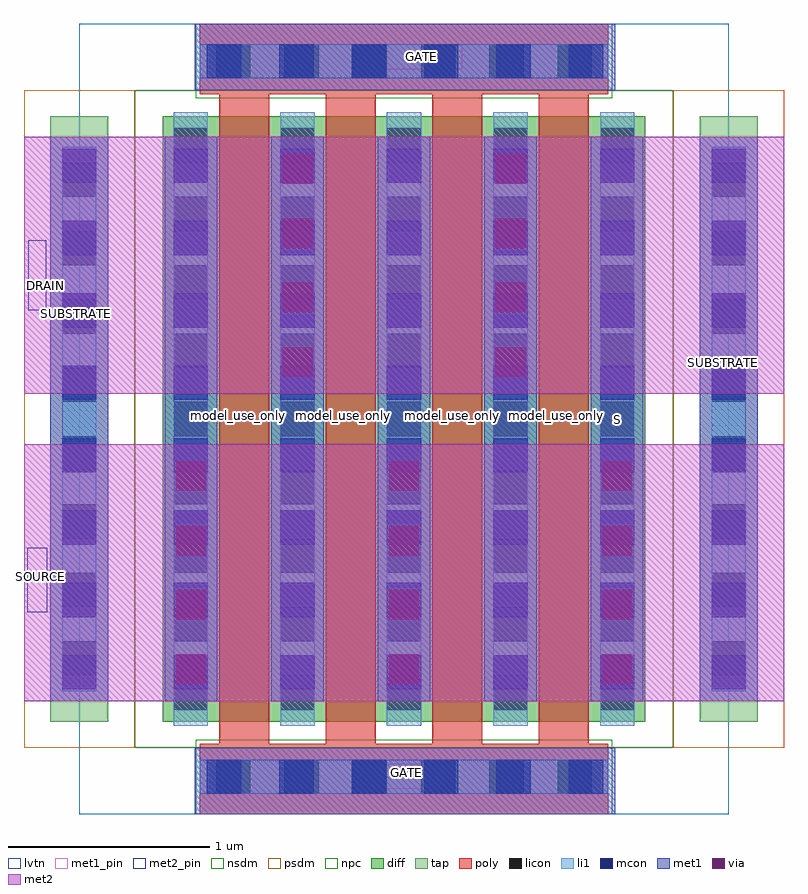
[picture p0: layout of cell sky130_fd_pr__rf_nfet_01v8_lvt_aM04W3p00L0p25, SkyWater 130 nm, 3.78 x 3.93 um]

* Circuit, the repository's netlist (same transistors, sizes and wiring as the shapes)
* Copyright 2020 The SkyWater PDK Authors
*
* Licensed under the Apache License, Version 2.0 (the "License");
* you may not use this file except in compliance with the License.
* You may obtain a copy of the License at
*
*     https://www.apache.org/licenses/LICENSE-2.0
*
* Unless required by applicable law or agreed to in writing, software
* distributed under the License is distributed on an "AS IS" BASIS,
* WITHOUT WARRANTIES OR CONDITIONS OF ANY KIND, either express or implied.
* See the License for the specific language governing permissions and
* limitations under the License.
*
* SPDX-License-Identifier: Apache-2.0


.subckt sky130_fd_pr__rf_nfet_01v8_lvt_aM04W3p00L0p25 DRAIN GATE SOURCE SUBSTRATE
X0 SOURCE GATE DRAIN SUBSTRATE sky130_fd_pr__nfet_01v8_lvt w=3.01e+06u l=250000u
X1 DRAIN GATE SOURCE SUBSTRATE sky130_fd_pr__nfet_01v8_lvt w=3.01e+06u l=250000u
X2 SOURCE GATE DRAIN SUBSTRATE sky130_fd_pr__nfet_01v8_lvt w=3.01e+06u l=250000u
X3 DRAIN GATE SOURCE SUBSTRATE sky130_fd_pr__nfet_01v8_lvt w=3.01e+06u l=250000u
.ends

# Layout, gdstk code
import gdstk
lib = gdstk.Library(unit=1e-6, precision=1e-09)
def R(c, l, rs):  # rectangles x0, y0, x1, y1
    for r in rs: c.add(gdstk.rectangle(r[:2], r[2:], *l))
def A(c, l, x, y, w, h, nx, ny, dx, dy):  # array of equal rectangles
    R(c, l, [(x+i*dx, y+j*dy, x+i*dx+w, y+j*dy+h) for i in range(nx) for j in range(ny)])
diff = (65, 20)
tap = (65, 44)
poly = (66, 20)
licon = (66, 44)
li1 = (67, 20)
mcon = (67, 44)
met1_pin = (68, 16)
met1 = (68, 20)
via = (68, 44)
met2_pin = (69, 16)
met2 = (69, 20)
nsdm = (93, 44)
psdm = (94, 20)
npc = (95, 20)
lvtn = (125, 44)

sky130_fd_pr__rf_nfet_01 = lib.new_cell('sky130_fd_pr__rf_nfet_01v8_lvt_aM04W3p00L0p25')
R(sky130_fd_pr__rf_nfet_01, diff, [(0.69,0.46,3.09,3.47)])
R(sky130_fd_pr__rf_nfet_01, tap, [(0.13,0.46,0.42,3.47), (3.36,0.46,3.65,3.47)])
A(sky130_fd_pr__rf_nfet_01, poly, 0.97, 0.35, 0.25, 3.23, 4, 1, 0.53, 0)
R(sky130_fd_pr__rf_nfet_01, poly, [(0.875,0,2.905,0.35), (0.875,3.58,2.905,3.93)])
A(sky130_fd_pr__rf_nfet_01, licon, 0.955, 0.1, 0.17, 0.17, 6, 2, 0.34, 3.56)
A(sky130_fd_pr__rf_nfet_01, licon, 0.745, 0.52, 0.17, 0.17, 5, 9, 0.53, 0.34)
A(sky130_fd_pr__rf_nfet_01, licon, 0.19, 0.69, 0.17, 0.17, 1, 8, 0, 0.34)
A(sky130_fd_pr__rf_nfet_01, licon, 3.42, 0.69, 0.17, 0.17, 1, 8, 0, 0.34)
A(sky130_fd_pr__rf_nfet_01, li1, 0.745, 0.44, 0.17, 3.05, 5, 1, 0.53, 0)
A(sky130_fd_pr__rf_nfet_01, li1, 0.745, 0.62, 0.17, 2.69, 5, 1, 0.53, 0)
R(sky130_fd_pr__rf_nfet_01, li1, [(0.875,0.1,2.905,0.27), (0.91,0.1,2.88,0.27), (0.19,0.61,0.36,3.32), (3.42,0.61,3.59,3.32), (0.19,0.62,0.36,3.31), (3.42,0.62,3.59,3.31), (0.875,3.66,2.905,3.83), (0.91,3.66,2.88,3.83)])
A(sky130_fd_pr__rf_nfet_01, mcon, 0.91, 0.1, 0.17, 0.17, 6, 2, 0.36, 3.56)
A(sky130_fd_pr__rf_nfet_01, mcon, 0.19, 0.62, 0.17, 0.17, 1, 8, 0, 0.36)
A(sky130_fd_pr__rf_nfet_01, mcon, 0.745, 0.62, 0.17, 0.17, 5, 8, 0.53, 0.36)
A(sky130_fd_pr__rf_nfet_01, mcon, 3.42, 0.62, 0.17, 0.17, 1, 8, 0, 0.36)
R(sky130_fd_pr__rf_nfet_01, met1_pin, [(1.695,0.125,2.105,0.25), (0.19,1.925,0.36,2.005), (3.42,1.93,3.59,2.01), (1.77,3.705,2.18,3.83)])
A(sky130_fd_pr__rf_nfet_01, met1, 0.7, 0.56, 0.26, 2.81, 5, 1, 0.53, 0)
A(sky130_fd_pr__rf_nfet_01, met1, 0.7, 0.56, 0.26, 1.28, 3, 1, 1.06, 0)
R(sky130_fd_pr__rf_nfet_01, met1, [(0.85,0,2.94,0.33), (0.13,0.56,0.42,3.37), (3.36,0.56,3.65,3.37), (1.23,2.09,1.49,3.37), (2.29,2.09,2.55,3.37), (0.85,3.6,2.94,3.93)])
A(sky130_fd_pr__rf_nfet_01, via, 0.755, 0.645, 0.15, 0.15, 3, 4, 1.06, 0.32)
A(sky130_fd_pr__rf_nfet_01, via, 1.285, 2.175, 0.15, 0.15, 1, 4, 0, 0.32)
A(sky130_fd_pr__rf_nfet_01, via, 2.345, 2.175, 0.15, 0.15, 1, 4, 0, 0.32)
R(sky130_fd_pr__rf_nfet_01, met2_pin, [(0.015,1.005,0.115,1.325), (0.02,2.505,0.11,2.855)])
A(sky130_fd_pr__rf_nfet_01, met2, 0.7, 0.56, 0.26, 1.28, 3, 1, 1.06, 0)
R(sky130_fd_pr__rf_nfet_01, met2, [(0,0.56,3.78,1.84), (0,2.09,3.78,3.37), (1.23,2.09,1.49,3.37), (2.29,2.09,2.55,3.37)])
R(sky130_fd_pr__rf_nfet_01, nsdm, [(0.55,0.33,3.23,3.6)])
R(sky130_fd_pr__rf_nfet_01, psdm, [(0,0.33,0.55,3.6), (3.23,0.33,3.78,3.6)])
R(sky130_fd_pr__rf_nfet_01, npc, [(0.855,0,2.925,0.37), (0.855,3.56,2.925,3.93)])
R(sky130_fd_pr__rf_nfet_01, lvtn, [(0.275,0,3.505,3.93)])
sky130_fd_pr__rf_nfet_01.add(gdstk.Label('model_use_only', (1.065,1.98), layer=66, texttype=83))
sky130_fd_pr__rf_nfet_01.add(gdstk.Label('model_use_only', (1.59,1.98), layer=66, texttype=83))
sky130_fd_pr__rf_nfet_01.add(gdstk.Label('model_use_only', (2.13,1.98), layer=66, texttype=83))
sky130_fd_pr__rf_nfet_01.add(gdstk.Label('model_use_only', (2.65,1.98), layer=66, texttype=83))
sky130_fd_pr__rf_nfet_01.add(gdstk.Label('S', (0.83,1.965), layer=83, texttype=44))
sky130_fd_pr__rf_nfet_01.add(gdstk.Label('S', (0.83,1.965), layer=83, texttype=44))
sky130_fd_pr__rf_nfet_01.add(gdstk.Label('S', (1.36,1.965), layer=83, texttype=44))
sky130_fd_pr__rf_nfet_01.add(gdstk.Label('D', (1.36,1.965), layer=83, texttype=44))
sky130_fd_pr__rf_nfet_01.add(gdstk.Label('S', (1.89,1.965), layer=83, texttype=44))
sky130_fd_pr__rf_nfet_01.add(gdstk.Label('S', (1.89,1.965), layer=83, texttype=44))
sky130_fd_pr__rf_nfet_01.add(gdstk.Label('S', (2.42,1.965), layer=83, texttype=44))
sky130_fd_pr__rf_nfet_01.add(gdstk.Label('D', (2.42,1.965), layer=83, texttype=44))
sky130_fd_pr__rf_nfet_01.add(gdstk.Label('S', (2.95,1.965), layer=83, texttype=44))
sky130_fd_pr__rf_nfet_01.add(gdstk.Label('SOURCE', (0.08,1.18), layer=69, texttype=5))
sky130_fd_pr__rf_nfet_01.add(gdstk.Label('DRAIN', (0.105,2.63), layer=69, texttype=5))
sky130_fd_pr__rf_nfet_01.add(gdstk.Label('SUBSTRATE', (0.26,2.49), layer=68, texttype=5))
sky130_fd_pr__rf_nfet_01.add(gdstk.Label('SUBSTRATE', (3.48,2.245), layer=68, texttype=5))
sky130_fd_pr__rf_nfet_01.add(gdstk.Label('GATE', (1.975,3.77), layer=68, texttype=5))
sky130_fd_pr__rf_nfet_01.add(gdstk.Label('GATE', (1.9,0.205), layer=68, texttype=5))

lib.write_gds('sky130_fd_pr__rf_nfet_01v8_lvt_aM04W3p00L0p25.gds')
